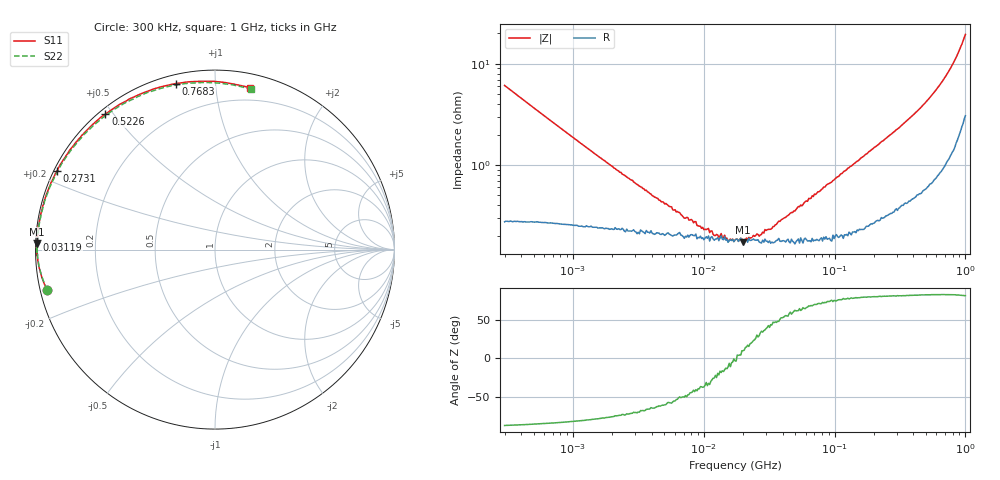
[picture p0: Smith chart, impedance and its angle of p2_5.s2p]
#  HZ  S  RI  R  50
! Rohde & Schwarz ZVA/B
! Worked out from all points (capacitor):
!   401 points, 300 kHz to 1 GHz, reference 50 ohm
!   read as one part in shunt: C = 86.8 nF near 312.4 kHz
!   lowest |Z| = 171 mohm at 19.96 MHz (marker M1)
!   series resonance near 17.86 MHz, so ESL is about 920 pH
!   S11 on the Smith chart (normalised r, x): 300 kHz: 0.02, -0.12; 31.19 MHz: 0.00, +0.03; 273.1 MHz: 0.01, +0.23; 522.6 MHz: 0.02, +0.48; 768.3 MHz: 0.04, +0.79; 1 GHz: 0.10, +1.23
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300000  -0.9355 -0.2235  0.0649 -0.226  0.0655 -0.2269  -0.9341 -0.2235
574052.4  -0.9741 -0.1221  0.0262 -0.1234  0.026 -0.1235  -0.9729 -0.1224
1167356  -0.987 -0.0603  0.0137 -0.0622  0.0136 -0.0622  -0.9862 -0.0604
4542403  -0.9914 -0.00915  0.00854 -0.0156  0.00839 -0.0157  -0.9907 -0.00902
6954033  -0.9936 -7.1e-05  0.00777 -0.00936  0.00828 -0.00986  -0.9909 0.000736
1.178213e7  -0.9911 0.0134  0.00731 -0.00372  0.00737 -0.00421  -0.9913 0.0138
1.533619e7  -0.9928 0.0228  0.00678 -0.00154  0.00751 -0.00148  -0.9919 0.0213
1.732051e7  -0.9928 0.025  0.00714 -0.000631  0.00759 -0.000277  -0.9906 0.0242
1.996232e7  -0.9929 0.0307  0.00674 0.000923  0.00738 0.00101  -0.9917 0.0303
2.76138e7  -0.9918 0.0429  0.00689 0.00436  0.007 0.00407  -0.9892 0.0444
3.118669e7  -0.9916 0.0521  0.00708 0.00577  0.00707 0.00572  -0.99 0.0502
6.739735e7  -0.9862 0.1125  0.00943 0.0172  0.0089 0.0167  -0.9834 0.1139
1.370549e8  -0.9619 0.2274  0.0169 0.035  0.0172 0.0352  -0.9609 0.2272
1.82052e8  -0.9418 0.3008  0.0245 0.0457  0.0244 0.0452  -0.9384 0.2977
2.622557e8  -0.8898 0.4222  0.0418 0.0601  0.0417 0.0601  -0.885 0.4199
2.731111e8  -0.8804 0.437  0.0441 0.0615  0.0445 0.0615  -0.8776 0.4364
3.855332e8  -0.7781 0.5947  0.0753 0.0734  0.0753 0.0734  -0.7733 0.5897
5.226004e8  -0.6107 0.7547  0.1206 0.0745  0.1204 0.0745  -0.6077 0.7486
6.400909e8  -0.4353 0.8582  0.1639 0.0599  0.1642 0.0603  -0.433 0.8514
7.682568e8  -0.2192 0.925  0.2089 0.0255  0.2091 0.0253  -0.2199 0.9163
8.854353e8  -0.0111 0.9376  0.2437 -0.0237  0.243 -0.023  -0.00942 0.9295
1e9  0.1946 0.902  0.2627 -0.086  0.2631 -0.0866  0.1995 0.8944
